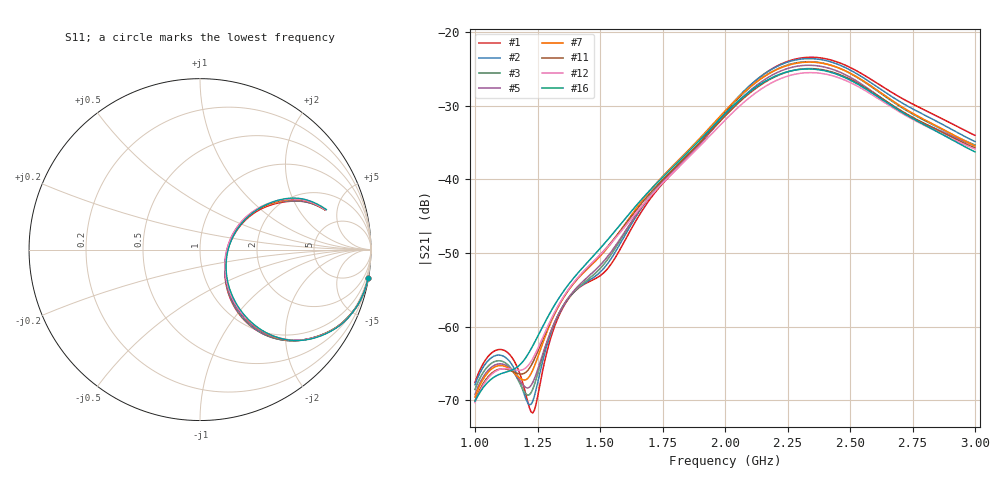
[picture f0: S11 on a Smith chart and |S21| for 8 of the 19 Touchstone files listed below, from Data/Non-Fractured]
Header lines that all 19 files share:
! TOUCHSTONE file generated by CST MICROWAVE STUDIO
! Project name: non_fractured.cst
! Header version: 2024
! Port assignment regex: !\s*Touchstone port\s*([0-9]+)\s*=\s*(CST MWS port|CST DES external port|CST DES block port)\s*(.+)\s* \(\"(.*)\"\)(\s*mode\s*([0-9]+))?.*
! Touchstone port assignment:
! Touchstone port 1 = CST MWS port 1 ("")
! Touchstone port 2 = CST MWS port 2 ("")
# GHz S DB R 50
Fixed: B = 2.5, D = 160, Feed = 2.85625, L = 100, M = 10, R = 0.384908, length = 57.125, wave = 114.25
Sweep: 1 GHz to 3 GHz
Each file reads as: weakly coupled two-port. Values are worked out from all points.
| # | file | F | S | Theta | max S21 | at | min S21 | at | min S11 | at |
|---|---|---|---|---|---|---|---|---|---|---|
| 1 | non_fractured_81.s2p | 5 | 1 | 0 | -23.40 dB | 2.347 GHz | -71.7 dB | 1.231 GHz | -16.0 dB | 2.373 GHz |
| 2 | non_fractured_85.s2p | 5 | 1.5 | 0 | -23.59 dB | 2.34 GHz | -70.6 dB | 1.218 GHz | -16.1 dB | 2.373 GHz |
| 3 | non_fractured_89.s2p | 5 | 2 | 0 | -24.00 dB | 2.333 GHz | -69.3 dB | 1.211 GHz | -16.2 dB | 2.373 GHz |
| 4 | non_fractured_92.s2p | 5 | 2 | 270 | -24.00 dB | 2.333 GHz | -69.3 dB | 1.211 GHz | -16.2 dB | 2.373 GHz |
| 5 | non_fractured_93.s2p | 5 | 2.5 | 0 | -24.49 dB | 2.333 GHz | -69.2 dB | 1 GHz | -16.3 dB | 2.373 GHz |
| 6 | non_fractured_97.s2p | 10 | 1 | 0 | -22.96 dB | 2.34 GHz | -69.0 dB | 1 GHz | -15.9 dB | 2.373 GHz |
| 7 | non_fractured_101.s2p | 10 | 1.5 | 0 | -24.06 dB | 2.34 GHz | -69.6 dB | 1 GHz | -16.1 dB | 2.38 GHz |
| 8 | non_fractured_102.s2p | 10 | 1.5 | 90 | -24.06 dB | 2.34 GHz | -69.6 dB | 1 GHz | -16.1 dB | 2.38 GHz |
| 9 | non_fractured_103.s2p | 10 | 1.5 | 180 | -24.06 dB | 2.34 GHz | -69.6 dB | 1 GHz | -16.1 dB | 2.38 GHz |
| 10 | non_fractured_104.s2p | 10 | 1.5 | 270 | -24.06 dB | 2.34 GHz | -69.6 dB | 1 GHz | -16.1 dB | 2.38 GHz |
| 11 | non_fractured_105.s2p | 10 | 2 | 0 | -24.94 dB | 2.336 GHz | -70.1 dB | 1 GHz | -16.1 dB | 2.382 GHz |
| 12 | non_fractured_109.s2p | 10 | 2.5 | 0 | -25.49 dB | 2.342 GHz | -70.3 dB | 1 GHz | -16.2 dB | 2.382 GHz |
| 13 | non_fractured_110.s2p | 10 | 2.5 | 90 | -25.49 dB | 2.342 GHz | -70.3 dB | 1 GHz | -16.2 dB | 2.382 GHz |
| 14 | non_fractured_112.s2p | 10 | 2.5 | 270 | -25.49 dB | 2.342 GHz | -70.3 dB | 1 GHz | -16.2 dB | 2.382 GHz |
| 15 | non_fractured_113.s2p | 15 | 1 | 0 | -23.33 dB | 2.333 GHz | -69.1 dB | 1 GHz | -16.0 dB | 2.373 GHz |
| 16 | non_fractured_117.s2p | 15 | 1.5 | 0 | -24.99 dB | 2.331 GHz | -70.1 dB | 1 GHz | -15.9 dB | 2.377 GHz |
| 17 | non_fractured_118.s2p | 15 | 1.5 | 90 | -24.99 dB | 2.331 GHz | -70.1 dB | 1 GHz | -15.9 dB | 2.377 GHz |
| 18 | non_fractured_119.s2p | 15 | 1.5 | 180 | -24.99 dB | 2.331 GHz | -70.1 dB | 1 GHz | -15.9 dB | 2.377 GHz |
| 19 | non_fractured_120.s2p | 15 | 1.5 | 270 | -24.99 dB | 2.331 GHz | -70.1 dB | 1 GHz | -15.9 dB | 2.377 GHz |
